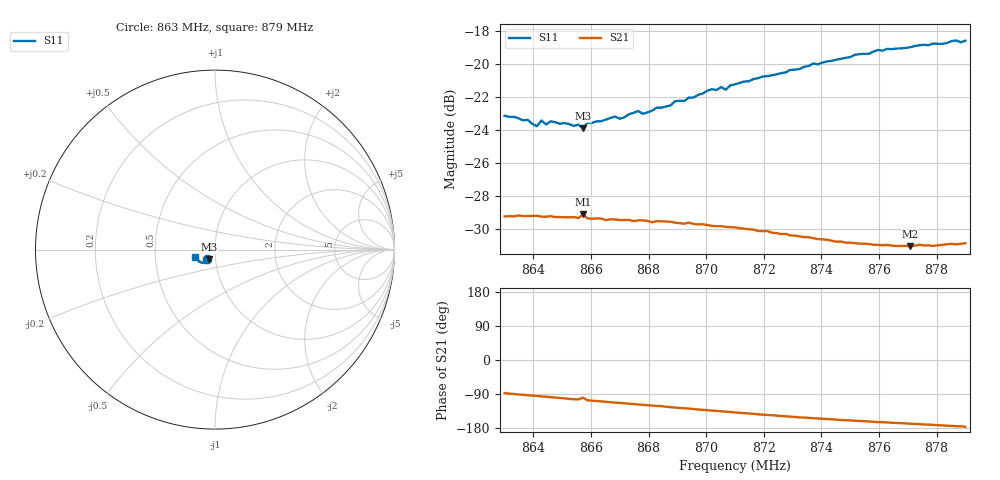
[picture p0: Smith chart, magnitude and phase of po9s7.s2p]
# HZ S RI R 50
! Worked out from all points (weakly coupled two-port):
!   101 points, 863 MHz to 879 MHz, reference 50 ohm
!   highest |S21| = -29.10 dB at 865.72 MHz (marker M1); lowest = -31.0 dB at 877.08 MHz (marker M2)
!   lowest |S11| = -23.9 dB at 865.72 MHz (marker M3), VSWR 1.14, Z = 46.6 - j5.13 ohm
!   |S11| at or under -10 dB: start of sweep to end of sweep
!   S12 and S22 are empty: the file has one direction only
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8.63e8  -0.0458 -0.0526  0.00176 -0.0346  0 0  0 0
8.638e8  -0.0416 -0.0536  -0.00183 -0.0347  0 0  0 0
8.6412e8  -0.0389 -0.052  -0.00289 -0.0347  0 0  0 0
8.6428e8  -0.0413 -0.0534  -0.0037 -0.0344  0 0  0 0
8.6444e8  -0.0384 -0.0533  -0.00419 -0.0343  0 0  0 0
8.646e8  -0.039 -0.0546  -0.00488 -0.0343  0 0  0 0
8.6556e8  -0.0356 -0.0551  -0.00829 -0.0332  0 0  0 0
8.6572e8  -0.0328 -0.0549  -0.00571 -0.0346  0 0  0 0
8.6588e8  -0.0356 -0.0562  -0.00959 -0.0328  0 0  0 0
8.6684e8  -0.0348 -0.06  -0.013 -0.0313  0 0  0 0
8.67e8  -0.0342 -0.0592  -0.0133 -0.031  0 0  0 0
8.6764e8  -0.0359 -0.0626  -0.0154 -0.0299  0 0  0 0
8.678e8  -0.035 -0.0615  -0.016 -0.0296  0 0  0 0
8.6844e8  -0.036 -0.0645  -0.0176 -0.0285  0 0  0 0
8.7004e8  -0.0433 -0.071  -0.022 -0.0241  0 0  0 0
8.7052e8  -0.0452 -0.0722  -0.023 -0.0227  0 0  0 0
8.7068e8  -0.0443 -0.071  -0.0233 -0.0222  0 0  0 0
8.71e8  -0.0478 -0.0726  -0.024 -0.0213  0 0  0 0
8.7372e8  -0.0671 -0.0747  -0.0266 -0.0133  0 0  0 0
8.7644e8  -0.0911 -0.0634  -0.0274 -0.00698  0 0  0 0
8.7708e8  -0.0961 -0.0583  -0.0275 -0.00581  0 0  0 0
8.79e8  -0.1105 -0.0406  -0.0287 -0.00189  0 0  0 0
